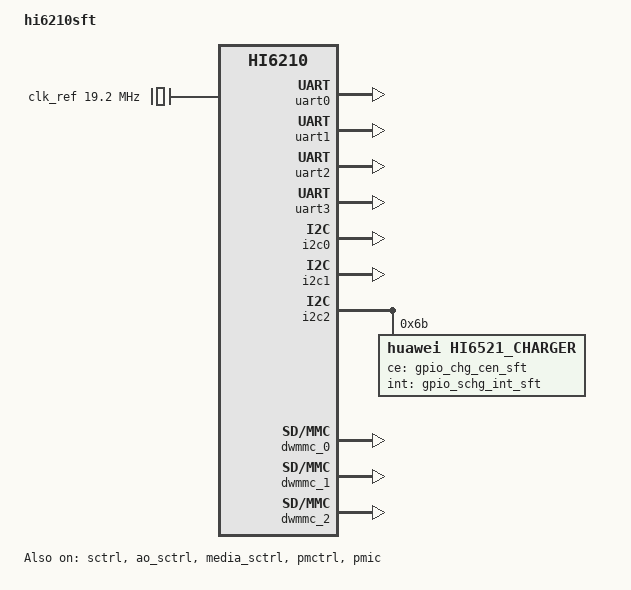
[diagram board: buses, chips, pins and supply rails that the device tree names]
/*
 *  Copyright (C) 2014 Hisilicon Ltd.
 *  Author: Bintian Wang <bintian.wang@huawei.com>
 *
 *  This program is free software; you can redistribute it and/or modify
 *  it under the terms of the GNU General Public License version 2 as
 *  publishhed by the Free Software Foundation.
 */

/* NOTE:
 * The last reserved memory base is used in fastboot
 * Which should be the least reseve value
 */

/include/ "./sft_mali400/hi6220_fb.dtsi"
/include/ "./sft_mali400/hi6220_mipi_tm_nt35521.dtsi"

/include/ "skeleton.dtsi"
/include/ "./sft_mali400/hi6220_pin.dtsi"
/include/ "./sft_mali400/hi6xxx_gpio_logic.dtsi"
///include/ "hi6220_sft_mali400_pin.dtsi"
///include/ "hi6220_sft_mali400_charger.dtsi"
///include/ "hi6220_sft_mali400_pmic.dtsi"
///include/ "hi6220_sft_mali400_gpio_logic.dtsi"
/include/ "./sft_mali400/hi6220.dtsi"
/include/ "./sft_mali400/hi6220_clk.dtsi"
/include/ "./sft_mali400/hi6220_gpio.dtsi"
/include/ "./sft_mali400/hi6220_pinctrl.dtsi"
/include/ "./sft_mali400/hi6552_pmuclk.dtsi"
/include/ "./sft_mali400/hisi_hi6552_pmic.dtsi"
/include/ "./sft_mali400/hi6552_pmic_mntn.dtsi"
/include/ "./sft_mali400/hisi_hi6xxx_mtcmos.dtsi"
/include/ "./sft_mali400/bq_bci_battery.dtsi"
/include/ "./sft_mali400/hisi_hi6521_charger_power.dtsi"
/include/ "./sft_mali400/test_hisi_hi6xxx_regulator.dtsi"
/include/ "./sft_mali400/hi6220_tsensor.dtsi"
/include/ "./sft_mali400/hi6220-touchscreen.dtsi"
/include/ "./sft_mali400/hi6220_vcodec.dtsi"
/include/ "./sft_mali400/hi6220_camera.dtsi"
/include/ "./sft_mali400/hi6220_videoconfig.dtsi"
/include/ "./sft_mali400/hisi_hi6220_audio.dtsi"
/include/ "./sft_mali400/huawei_bluetooth.dtsi"
/include/ "./sft_mali400/huawei_wifi.dtsi"
/include/ "./sft_mali400/hisi_hi6220_noc.dtsi"
/include/ "./sft_mali400/hi6220_memory.dtsi"
/ {
	model = "hi6210sft";
	compatible = "hisilicon,hi6210";
	hisi,boardid = <1 0 0 0>;
	hisi,boardname = "hi6220_sft_mali400";
	mntn,acpu-scaddr = <0xf6504000 0x800>;
	power,busdfs = <0x0>;
	power,localtimer = <0x0>;
	clk,support_odd_div = <1>;
	#address-cells = <1>;
        #size-cells = <1>;
        interrupt-parent = <&gic>;

        aliases{
                mshc0 = &dwmmc_0;
                mshc1 = &dwmmc_1;
                mshc2 = &dwmmc_2;
        };

	chosen {
	    bootargs = "console=ttyAMA0,115200 root=/dev/ram0 vmalloc=384M maxcpus=8 earlyprintk no_console_suspend loglevel=15 initcall_debug=n nn_hiwdt100";
	    linux,initrd-start = <0x0ae00000>;
	    linux,initrd-end =   <0x0b600000>;
	};

	cpus {
		#address-cells = <2>;
		#size-cells = <0>;

		cpu@0 {
			compatible = "arm,armv8";
			device_type = "cpu";
			reg = <0x0 0x0>;
			enable-method = "spin-table";
		};
		cpu@1 {
			compatible = "arm,armv8";
			device_type = "cpu";
			reg = <0x0 0x1>;
			enable-method = "spin-table";
		};
		cpu@2 {
			compatible = "arm,armv8";
			device_type = "cpu";
			reg = <0x0 0x2>;
			enable-method = "spin-table";
		};
		cpu@3 {
			compatible = "arm,armv8";
			device_type = "cpu";
			reg = <0x0 0x3>;
			enable-method = "spin-table";
		};
		cpu@4 {
			compatible = "arm,armv8";
			device_type = "cpu";
			reg = <0x0 0x100>;
			enable-method = "spin-table";
		};
		cpu@5 {
			compatible = "arm,armv8";
			device_type = "cpu";
			reg = <0x0 0x101>;
			enable-method = "spin-table";
		};
		cpu@6 {
			compatible = "arm,armv8";
			device_type = "cpu";
			reg = <0x0 0x102>;
			enable-method = "spin-table";
		};
		cpu@7 {
			compatible = "arm,armv8";
			device_type = "cpu";
			reg = <0x0 0x103>;
			enable-method = "spin-table";
		};
	};

	sctrl: sctrl {
		compatible = "hisilicon,sctrl";
		reg = <0xf7030000 0x2000>;
		status = "ok";
	};

	ao_sctrl: ao_sctrl {
		compatible = "hisilicon,aosctrl";
		reg = <0xf7800000 0x2000>;
		status = "ok";
	};
	
	
	media_sctrl: media_sctrl {
		compatible = "hisilicon,media_sctrl";
		reg = <0xf4410000 0x1000>;
		status = "ok";
	};

	pmctrl: pmctrl {
		compatible = "hisilicon,pmctrl";
		reg = <0xF7032000 0x1000>;
		status = "ok";
	};
        pmic: pmic@F8000000 {
                compatible = "hisilicon,hi6552-pmic-driver"; 
                status = "ok";
                coul: coul@1 {
                        compatible = "hisilicon,hi6xxx-coul";
                        interrupt-parent = <&pmic>;
                        interrupts = <24 0>, <25 0>, <26 0>, <27 0>;
                        interrupt-names = "cl_int_i", "cl_out_i", "cl_in_i", "vbat_int_i";
						coul_board_type = <1>;
						battery_product_index = <0>;
						status = "disabled";
                };

	};
	clk_ref: clk_ref {
	        compatible = "fixed-clock";
	        #clock-cells = <0>;
	        clock-frequency = <19200000>;
	        clock-output-names = "clk_ref";
	};

	amba {
	    #address-cells = <1>;
	    #size-cells = <1>;
	    compatible = "arm,amba-bus";
	    interrupt-parent = <&gic>;
	    ranges;

		uart0: uart@f8015000 {	/* console */
		/*
			pinctrl-names = "default", "idle";
			pinctrl-0 = <&uart0_pmx_func &uart0_cfg_func>;
			pinctrl-1 = <&uart0_pmx_idle &uart0_cfg_idle>;
		*/
			status = "ok";
		};
		uart1: uart@f7111000 {
			status = "ok";
		};
		uart2: uart@f7112000 {
			status = "ok";
		};
		uart3: uart@f7113000 {
			status = "ok";
		};
		uart4: uart@f7114000 {
			status = "disabled";
		};
		
		dma0: dma@F7370000 {
			status = "ok";
		};
		/*i2c bus node*/
		i2c0: i2c@f7100000 {
			status = "ok";
			bq2419x_charger:charger@6B {
				compatible = "huawei,bq2419x_charger";
				reg = <0x6B>;
				gpio_cd = <&gpio4 0 0>;
				gpio_int = <&gpio1 3 0>;
				gpio_otg = <&gpio4 1 0>;
				max_charger_voltagemV = <4208>;
				max_charger_currentmA = <1000>;
				max_cin_limit_currentmA = <1200>;
				status = "disabled";
			};

		};
		i2c1: i2c@f7101000 {
			status = "ok";
		};
		i2c2: i2c@f7102000 {
			status = "ok";
			hi6521_charger:charger@6B {
				compatible = "huawei,hi6521_charger";
				reg = <0x6B>;
				gpio_ce = <&gpio_chg_cen_sft>;
				gpio_int = <&gpio_schg_int_sft>;
				max_charger_voltagemV = <4350>;
				max_charger_currentmA = <2000>;
				max_cin_limit_currentmA = <2500>;
				charger_board_type = <1>;
				status = "ok";
			};
		};
		i2c3: i2c@f7103000 {
			status = "disabled";
		};
		i2c4: i2c@f7104000 {
			status = "disabled";
		};
		i2c5: i2c@f7105000 {
			status = "disabled";
		};

	};

	gic: interrupt-controller@f6800000 {
		compatible = "arm,cortex-a9-gic";
		#interrupt-cells = <3>;
		#address-cells = <0>;
		interrupt-controller;
		reg = <0xf6801000 0x1000>,
		      <0xf6802000 0x2000>;
	};

	/* emmc */
	dwmmc_0: dwmmc0@F723D000 {
 		compatible = "hisilicon,hi3630-dw-mshc";
		num-slots = <1>;
		board-mmc-bus-clk = <30000000>;
		broken-cd;
 	        reg = <0xF723D000 0x1000>;
 		interrupts = <0 72 4>;
 		#address-cells = <1>;
 		#size-cells = <0>;
 		clocks = <&clk_mmc0_sample>, <&clk_mmc0>;
 		clock-names = "ciu", "biu";
                emmc-ldo-supply = <&ldo2>;
                emmc-lvs-supply = <&ldo1>;
                pinctrl-names = "default","idle";
                pinctrl-0 = <&gpio050_pmx_func
                                 &gpio043_pmx_func
                                 &gpio050_cfg_func
                                 &gpio043_cfg_func>;
                pinctrl-1 = <&gpio050_pmx_idle
                                 &gpio043_pmx_idle
                                 &gpio050_cfg_idle
                                 &gpio043_cfg_idle>;
	};

        /* sdcard */
        dwmmc_1: dwmmc1@F723E000 {
                 compatible = "hisilicon,hi3630-dw-mshc";
                 num-slots = <1>;
				 board-mmc-bus-clk = <30000000>;
				 board-sd-voltage-switch-gpio = <&gpio_sd_leve_en_sft>;
                 cd-vol = <0>;
                 card-detect-delay = <200>;
                 cd-gpio = <&gpio_sd_det_sft>;
                 sw_gpio = <80 1>;
                 reg = <0xF723E000 0x1000>;
                 interrupts = <0 73 4>;
                 #address-cells = <1>;
                 #size-cells = <0>;
                 clocks = <&clk_mmc1_sample>, <&clk_mmc1>;
                 clock-names = "ciu", "biu";
                 emmc-ldo-supply = <&ldo2>;
                 emmc-lvs-supply = <&ldo1>;
                 pinctrl-names = "default","idle";
                 pinctrl-0 = <&gpio050_pmx_func
                         &gpio043_pmx_func
                         &gpio050_cfg_func
                         &gpio043_cfg_func>;
                 pinctrl-1 = <&gpio050_pmx_idle
                         &gpio043_pmx_idle
                         &gpio050_cfg_idle
                         &gpio043_cfg_idle>;
         };

         /* sdio */
         dwmmc_2: dwmmc2@F723F000 {
                 compatible = "hisilicon,hi3630-dw-mshc";
                 num-slots = <1>;
				 board-mmc-bus-clk = <30000000>;
                 reg = <0xF723F000 0x1000>;
                 interrupts = <0 74 4>;
                 #address-cells = <1>;
                 #size-cells = <0>;
                 clocks = <&clk_mmc2_sample>, <&clk_mmc2>;
                 clock-names = "ciu", "biu";
				 keep-power-in-suspend;
                 emmc-ldo-supply = <&ldo2>;
                 emmc-lvs-supply = <&ldo1>;
                 pinctrl-names = "default","idle";
                 pinctrl-0 = <&gpio050_pmx_func
                         &gpio043_pmx_func
                         &gpio050_cfg_func
                         &gpio043_cfg_func>;
                 pinctrl-1 = <&gpio050_pmx_idle
                         &gpio043_pmx_idle
                         &gpio050_cfg_idle
                         &gpio043_cfg_idle>;
        };

	timer {
	    compatible = "arm,armv8-timer";
	    interrupt-parent = <&gic>;
	    interrupts = <1 13 0xff08>,
	                 <1 14 0xff08>,
	                 <1 11 0xff08>,
	                 <1 10 0xff08>;
	    clock-frequency = <300000>;
	};
                                                                                     
	hi6xxx_reset:hi6xxx_reset {                                                             
		compatible = "hisilicon,hi6xxx-reset";
		sctrl-value = <0x48698284>;
	};

	hi6xxx_asctrl:hi6xxx_asctrl {
		compatible = "hisilicon,hi6xxx-asctrl";
		reg = <0xF6504000 0x1000>;
	};
	
	hi6xxx_soc_config:hi6xxx_soc_config {
		compatible = "hisilicon,hi6xxx-soc-config";
	};
};
